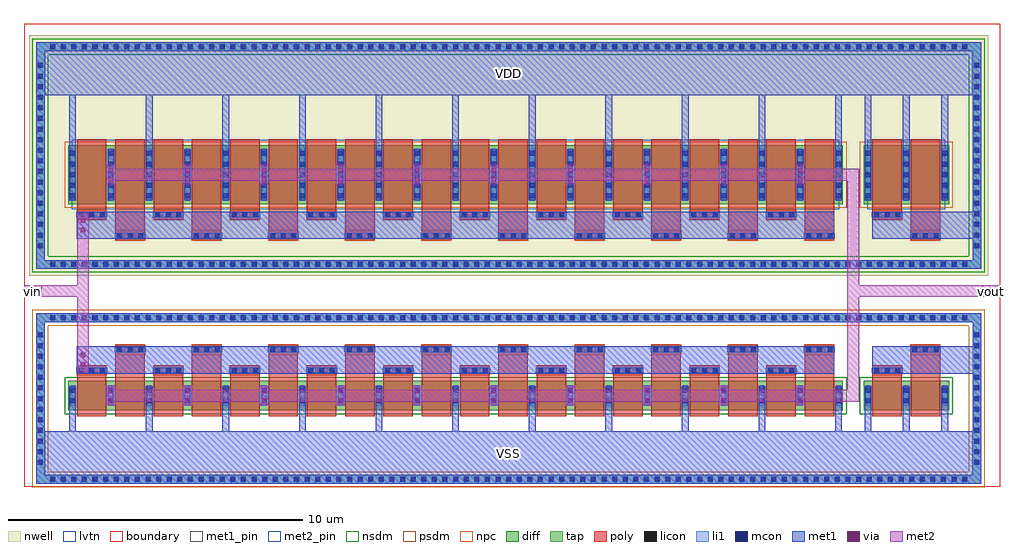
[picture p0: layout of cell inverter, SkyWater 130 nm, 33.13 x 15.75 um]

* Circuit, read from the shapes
.subckt inverter VDD VSS vin vout
XM1 vout vin VSS VSS sky130_fd_pr__nfet_01v8 w=1 l=1 m=20
XM2 VSS VSS VSS VSS sky130_fd_pr__nfet_01v8 w=1 l=1 m=2
XM3 vout vin VDD VDD sky130_fd_pr__pfet_01v8_lvt w=2 l=1 m=20
XM4 VDD VDD VDD VDD sky130_fd_pr__pfet_01v8_lvt w=2 l=1 m=2
.ends

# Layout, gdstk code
import gdstk
lib = gdstk.Library(unit=1e-6, precision=5e-09)
def R(c, l, rs):  # rectangles x0, y0, x1, y1
    for r in rs: c.add(gdstk.rectangle(r[:2], r[2:], *l))
def A(c, l, x, y, w, h, nx, ny, dx, dy):  # array of equal rectangles
    R(c, l, [(x+i*dx, y+j*dy, x+i*dx+w, y+j*dy+h) for i in range(nx) for j in range(ny)])
def P(c, l, *ps):  # polygons
    for p in ps: c.add(gdstk.Polygon(p, *l))
nwell = (64, 20)
diff = (65, 20)
tap = (65, 44)
poly = (66, 20)
licon = (66, 44)
li1 = (67, 20)
mcon = (67, 44)
met1_pin = (68, 16)
met1 = (68, 20)
via = (68, 44)
met2_pin = (69, 16)
met2 = (69, 20)
nsdm = (93, 44)
psdm = (94, 20)
npc = (95, 20)
lvtn = (125, 44)
boundary = (235, 4)

inverter = lib.new_cell('inverter')
R(inverter, nwell, [(0.17,7.17,32.73,15.33), (1.195,8.18,28.105,11.98), (28.195,8.18,31.705,11.98)])
R(inverter, diff, [(1.5,2.6,27.8,3.6), (28.5,2.6,31.4,3.6), (1.5,9.6,27.8,11.6), (28.5,9.6,31.4,11.6)])
P(inverter, tap, [(0.41,0.11),(0.41,5.6),(0.7,5.6),(0.7,0.4),(32.2,0.4),(32.2,5.6),(0.41,5.6),(0.41,5.89),(32.49,5.89),(32.49,0.11)],
  [(0.41,7.41),(0.41,14.8),(0.7,14.8),(0.7,7.7),(32.2,7.7),(32.2,14.8),(0.41,14.8),(0.41,15.09),(32.49,15.09),(32.49,7.41)])
A(inverter, poly, 1.8, 2.4, 1, 1.4, 10, 1, 2.6, 0)
A(inverter, poly, 3.1, 2.4, 1, 2.1, 10, 1, 2.6, 0)
A(inverter, poly, 1.8, 3.8, 1, 0.33, 10, 2, 2.6, 5.27)
A(inverter, poly, 3.1, 4.5, 1, 0.33, 10, 2, 2.6, 3.87)
A(inverter, poly, 3.1, 8.7, 1, 3.1, 10, 1, 2.6, 0)
A(inverter, poly, 1.8, 9.4, 1, 2.4, 10, 1, 2.6, 0)
R(inverter, poly, [(28.8,2.4,29.8,3.8), (30.1,2.4,31.1,4.5), (28.8,3.8,29.8,4.13), (30.1,4.5,31.1,4.83), (30.1,8.37,31.1,8.7), (30.1,8.7,31.1,11.8), (28.8,9.07,29.8,9.4), (28.8,9.4,29.8,11.8)])
A(inverter, licon, 0.885, 0.17, 0.17, 0.17, 87, 2, 0.36, 5.49)
A(inverter, licon, 0.47, 0.755, 0.17, 0.17, 1, 13, 0, 0.36)
A(inverter, licon, 32.26, 0.755, 0.17, 0.17, 1, 13, 0, 0.36)
A(inverter, licon, 1.565, 2.835, 0.17, 0.17, 21, 2, 1.3, 0.36)
A(inverter, licon, 28.565, 2.835, 0.17, 0.17, 3, 2, 1.3, 0.36)
A(inverter, licon, 1.855, 3.88, 0.17, 0.17, 3, 2, 0.36, 5.27)
A(inverter, licon, 4.455, 3.88, 0.17, 0.17, 3, 2, 0.36, 5.27)
A(inverter, licon, 7.055, 3.88, 0.17, 0.17, 3, 2, 0.36, 5.27)
A(inverter, licon, 9.655, 3.88, 0.17, 0.17, 3, 2, 0.36, 5.27)
A(inverter, licon, 12.255, 3.88, 0.17, 0.17, 3, 2, 0.36, 5.27)
A(inverter, licon, 14.855, 3.88, 0.17, 0.17, 3, 2, 0.36, 5.27)
A(inverter, licon, 17.455, 3.88, 0.17, 0.17, 3, 2, 0.36, 5.27)
A(inverter, licon, 20.055, 3.88, 0.17, 0.17, 3, 2, 0.36, 5.27)
A(inverter, licon, 22.655, 3.88, 0.17, 0.17, 3, 2, 0.36, 5.27)
A(inverter, licon, 25.255, 3.88, 0.17, 0.17, 3, 2, 0.36, 5.27)
A(inverter, licon, 28.855, 3.88, 0.17, 0.17, 3, 2, 0.36, 5.27)
A(inverter, licon, 3.155, 4.58, 0.17, 0.17, 3, 2, 0.36, 3.87)
A(inverter, licon, 5.755, 4.58, 0.17, 0.17, 3, 2, 0.36, 3.87)
A(inverter, licon, 8.355, 4.58, 0.17, 0.17, 3, 2, 0.36, 3.87)
A(inverter, licon, 10.955, 4.58, 0.17, 0.17, 3, 2, 0.36, 3.87)
A(inverter, licon, 13.555, 4.58, 0.17, 0.17, 3, 2, 0.36, 3.87)
A(inverter, licon, 16.155, 4.58, 0.17, 0.17, 3, 2, 0.36, 3.87)
A(inverter, licon, 18.755, 4.58, 0.17, 0.17, 3, 2, 0.36, 3.87)
A(inverter, licon, 21.355, 4.58, 0.17, 0.17, 3, 2, 0.36, 3.87)
A(inverter, licon, 23.955, 4.58, 0.17, 0.17, 3, 2, 0.36, 3.87)
A(inverter, licon, 26.555, 4.58, 0.17, 0.17, 3, 2, 0.36, 3.87)
A(inverter, licon, 30.155, 4.58, 0.17, 0.17, 3, 2, 0.36, 3.87)
A(inverter, licon, 0.885, 7.47, 0.17, 0.17, 87, 2, 0.36, 7.39)
A(inverter, licon, 0.47, 8.105, 0.17, 0.17, 1, 18, 0, 0.36)
A(inverter, licon, 32.26, 8.105, 0.17, 0.17, 1, 18, 0, 0.36)
A(inverter, licon, 1.565, 9.795, 0.17, 0.17, 21, 5, 1.3, 0.36)
A(inverter, licon, 28.565, 9.795, 0.17, 0.17, 3, 5, 1.3, 0.36)
A(inverter, li1, 1.565, 2.755, 0.17, 0.69, 21, 1, 1.3, 0)
A(inverter, li1, 28.565, 2.755, 0.17, 0.69, 3, 1, 1.3, 0)
A(inverter, li1, 1.775, 3.88, 1.05, 0.17, 10, 2, 2.6, 5.27)
A(inverter, li1, 3.075, 4.58, 1.05, 0.17, 10, 2, 2.6, 3.87)
A(inverter, li1, 1.565, 9.715, 0.17, 1.77, 21, 1, 1.3, 0)
A(inverter, li1, 28.565, 9.715, 0.17, 1.77, 3, 1, 1.3, 0)
R(inverter, li1, [(28.775,3.88,29.825,4.05), (30.075,4.58,31.125,4.75), (30.075,8.45,31.125,8.62), (28.775,9.15,29.825,9.32)])
P(inverter, li1, [(0.41,0.11),(0.41,5.6),(0.7,5.6),(0.7,0.4),(32.2,0.4),(32.2,5.6),(0.41,5.6),(0.41,5.89),(32.49,5.89),(32.49,0.11)],
  [(0.41,7.41),(0.41,14.8),(0.7,14.8),(0.7,7.7),(32.2,7.7),(32.2,14.8),(0.41,14.8),(0.41,15.09),(32.49,15.09),(32.49,7.41)])
A(inverter, mcon, 0.885, 0.17, 0.17, 0.17, 87, 2, 0.36, 5.49)
A(inverter, mcon, 0.47, 0.755, 0.17, 0.17, 1, 13, 0, 0.36)
A(inverter, mcon, 32.26, 0.755, 0.17, 0.17, 1, 13, 0, 0.36)
A(inverter, mcon, 1.565, 2.835, 0.17, 0.17, 21, 2, 1.3, 0.36)
A(inverter, mcon, 28.565, 2.835, 0.17, 0.17, 3, 2, 1.3, 0.36)
A(inverter, mcon, 1.855, 3.88, 0.17, 0.17, 3, 2, 0.36, 5.27)
A(inverter, mcon, 4.455, 3.88, 0.17, 0.17, 3, 2, 0.36, 5.27)
A(inverter, mcon, 7.055, 3.88, 0.17, 0.17, 3, 2, 0.36, 5.27)
A(inverter, mcon, 9.655, 3.88, 0.17, 0.17, 3, 2, 0.36, 5.27)
A(inverter, mcon, 12.255, 3.88, 0.17, 0.17, 3, 2, 0.36, 5.27)
A(inverter, mcon, 14.855, 3.88, 0.17, 0.17, 3, 2, 0.36, 5.27)
A(inverter, mcon, 17.455, 3.88, 0.17, 0.17, 3, 2, 0.36, 5.27)
A(inverter, mcon, 20.055, 3.88, 0.17, 0.17, 3, 2, 0.36, 5.27)
A(inverter, mcon, 22.655, 3.88, 0.17, 0.17, 3, 2, 0.36, 5.27)
A(inverter, mcon, 25.255, 3.88, 0.17, 0.17, 3, 2, 0.36, 5.27)
A(inverter, mcon, 28.855, 3.88, 0.17, 0.17, 3, 2, 0.36, 5.27)
A(inverter, mcon, 3.155, 4.58, 0.17, 0.17, 3, 2, 0.36, 3.87)
A(inverter, mcon, 5.755, 4.58, 0.17, 0.17, 3, 2, 0.36, 3.87)
A(inverter, mcon, 8.355, 4.58, 0.17, 0.17, 3, 2, 0.36, 3.87)
A(inverter, mcon, 10.955, 4.58, 0.17, 0.17, 3, 2, 0.36, 3.87)
A(inverter, mcon, 13.555, 4.58, 0.17, 0.17, 3, 2, 0.36, 3.87)
A(inverter, mcon, 16.155, 4.58, 0.17, 0.17, 3, 2, 0.36, 3.87)
A(inverter, mcon, 18.755, 4.58, 0.17, 0.17, 3, 2, 0.36, 3.87)
A(inverter, mcon, 21.355, 4.58, 0.17, 0.17, 3, 2, 0.36, 3.87)
A(inverter, mcon, 23.955, 4.58, 0.17, 0.17, 3, 2, 0.36, 3.87)
A(inverter, mcon, 26.555, 4.58, 0.17, 0.17, 3, 2, 0.36, 3.87)
A(inverter, mcon, 30.155, 4.58, 0.17, 0.17, 3, 2, 0.36, 3.87)
A(inverter, mcon, 0.885, 7.47, 0.17, 0.17, 87, 2, 0.36, 7.39)
A(inverter, mcon, 0.47, 8.105, 0.17, 0.17, 1, 18, 0, 0.36)
A(inverter, mcon, 32.26, 8.105, 0.17, 0.17, 1, 18, 0, 0.36)
A(inverter, mcon, 1.565, 9.795, 0.17, 0.17, 21, 5, 1.3, 0.36)
A(inverter, mcon, 28.565, 9.795, 0.17, 0.17, 3, 5, 1.3, 0.36)
R(inverter, met1_pin, [(0.7,0.4,32.2,1.9), (0.7,13.3,32.2,14.8)])
A(inverter, met1, 1.535, 1.6, 0.23, 1.275, 11, 1, 2.6, 0)
A(inverter, met1, 28.535, 1.6, 0.23, 1.275, 3, 1, 1.3, 0)
A(inverter, met1, 2.79, 2.77, 0.32, 0.66, 10, 2, 2.6, 7.5)
A(inverter, met1, 1.535, 2.775, 0.23, 0.65, 21, 1, 1.3, 0)
A(inverter, met1, 28.535, 2.775, 0.23, 0.65, 3, 1, 1.3, 0)
A(inverter, met1, 1.795, 3.85, 1.01, 0.23, 10, 2, 2.6, 5.27)
A(inverter, met1, 3.095, 4.55, 1.01, 0.23, 10, 2, 2.6, 3.87)
A(inverter, met1, 1.535, 9.735, 0.23, 1.73, 21, 1, 1.3, 0)
A(inverter, met1, 28.535, 9.735, 0.23, 1.73, 3, 1, 1.3, 0)
A(inverter, met1, 1.535, 11.365, 0.23, 2.235, 11, 1, 2.6, 0)
A(inverter, met1, 28.535, 11.365, 0.23, 2.235, 3, 1, 1.3, 0)
R(inverter, met1, [(0.7,0.4,32.2,1.9), (1.795,3.85,27.505,4.78), (28.795,3.85,29.805,4.08), (28.795,3.85,32.2,4.78), (30.095,4.55,31.105,4.78), (1.795,8.42,27.505,9.35), (28.795,8.42,32.2,9.35), (30.095,8.42,31.105,8.65), (28.795,9.12,29.805,9.35), (0.7,13.3,32.2,14.8)])
P(inverter, met1, [(0.41,0.11),(0.41,5.6),(0.7,5.6),(0.7,0.4),(32.2,0.4),(32.2,5.6),(0.41,5.6),(0.41,5.89),(32.49,5.89),(32.49,0.11)],
  [(0.41,7.41),(0.41,14.8),(0.7,14.8),(0.7,7.7),(32.2,7.7),(32.2,14.8),(0.41,14.8),(0.41,15.09),(32.49,15.09),(32.49,7.41)])
A(inverter, via, 2.875, 2.865, 0.15, 0.15, 10, 2, 2.6, 0.32)
A(inverter, via, 2.875, 10.365, 0.15, 0.15, 10, 2, 2.6, 0.32)
R(inverter, via, [(1.93,4.08,2.08,4.23), (1.93,4.4,2.08,4.55), (1.93,8.65,2.08,8.8), (1.93,8.97,2.08,9.12)])
R(inverter, met2_pin, [(0,6.45,0.6,6.85), (32.53,6.45,33.13,6.85)])
A(inverter, met2, 2.79, 2.77, 0.32, 0.66, 10, 2, 2.6, 7.5)
R(inverter, met2, [(2.79,2.9,28.35,3.3), (27.95,2.9,28.35,10.8), (1.805,3.9,2.205,9.3), (1.845,3.9,2.165,4.73), (0,6.45,2.205,6.85), (0,6.45,0.6,6.85), (27.95,6.45,33.13,6.85), (32.53,6.45,33.13,6.85), (1.845,8.47,2.165,9.3), (2.79,10.4,28.35,10.8)])
R(inverter, nsdm, [(1.375,2.475,27.925,3.725), (28.375,2.475,31.525,3.725)])
P(inverter, nsdm, [(0.285,7.285),(0.285,14.675),(0.825,14.675),(0.825,7.825),(32.075,7.825),(32.075,14.675),(0.285,14.675),(0.285,15.215),(32.615,15.215),(32.615,7.285)])
R(inverter, psdm, [(1.375,9.475,27.925,11.725), (28.375,9.475,31.525,11.725)])
P(inverter, psdm, [(0.285,-0.015),(0.285,5.475),(0.825,5.475),(0.825,0.525),(32.075,0.525),(32.075,5.475),(0.285,5.475),(0.285,6.015),(32.615,6.015),(32.615,-0.015)])
A(inverter, npc, 1.79, 3.79, 1.02, 0.35, 10, 2, 2.6, 5.27)
A(inverter, npc, 3.09, 4.49, 1.02, 0.35, 10, 2, 2.6, 3.87)
R(inverter, npc, [(28.79,3.79,29.81,4.14), (30.09,4.49,31.11,4.84), (30.09,8.36,31.11,8.71), (28.79,9.06,29.81,9.41)])
R(inverter, lvtn, [(1.62,9.42,27.68,11.78), (28.62,9.42,31.28,11.78)])
R(inverter, boundary, [(0,0,33.13,15.73)])
inverter.add(gdstk.Label('VSS', (16.45,1.15), layer=68, texttype=5))
inverter.add(gdstk.Label('VDD', (16.45,14.05), layer=68, texttype=5))
inverter.add(gdstk.Label('vin', (0.3,6.65), layer=69, texttype=5))
inverter.add(gdstk.Label('vout', (32.83,6.65), layer=69, texttype=5))

lib.write_gds('inverter.gds')
